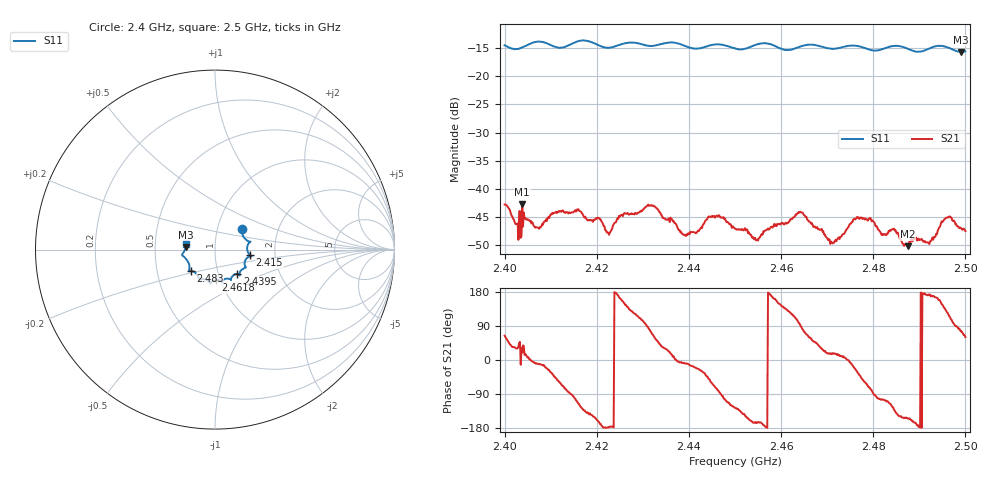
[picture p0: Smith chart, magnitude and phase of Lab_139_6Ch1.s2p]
# Hz S RI R 50
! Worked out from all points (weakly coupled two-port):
!   601 points, 2.4 GHz to 2.5 GHz, reference 50 ohm
!   highest |S21| = -42.76 dB at 2.4038 GHz (marker M1); lowest = -50.2 dB at 2.4875 GHz (marker M2)
!   lowest |S11| = -15.7 dB at 2.499 GHz (marker M3), VSWR 1.39, Z = 35.9 + j1.13 ohm
!   |S11| at or under -10 dB: start of sweep to end of sweep
!   S12 and S22 are empty: the file has one direction only
!   S11 on the Smith chart (normalised r, x): 2.4 GHz: 1.31, +0.31; 2.415 GHz: 1.48, -0.10; 2.4395 GHz: 1.23, -0.34; 2.4618 GHz: 0.95, -0.33; 2.483 GHz: 0.74, -0.18; 2.5 GHz: 0.72, +0.05
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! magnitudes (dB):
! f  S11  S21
! 2.4 GHz  -14.5  -42.8
! 2.4038 GHz  -14.9  -42.8
! 2.415 GHz  -14.1  -44.1
! 2.4167 GHz  -13.7  -44.2
! 2.4225 GHz  -14.9  -47.8
! 2.4257 GHz  -14.2  -44.9
! 2.4333 GHz  -14.4  -43.7
! 2.4395 GHz  -14.7  -48.1
! 2.4448 GHz  -14.5  -45.0
! 2.45 GHz  -15.1  -47.1
! 2.4547 GHz  -14.4  -49.2
! 2.4618 GHz  -15.3  -45.8
! 2.4667 GHz  -14.4  -46.1
! 2.4712 GHz  -15.1  -49.7
! 2.4768 GHz  -14.7  -45.1
! 2.483 GHz  -14.9  -47.9
! 2.4833 GHz  -14.8  -47.5
! 2.4875 GHz  -15.1  -50.2
! 2.4922 GHz  -15.1  -49.8
! 2.4962 GHz  -14.9  -45.1
! 2.499 GHz  -15.7  -46.9
! 2.5 GHz  -15.6  -47.5
